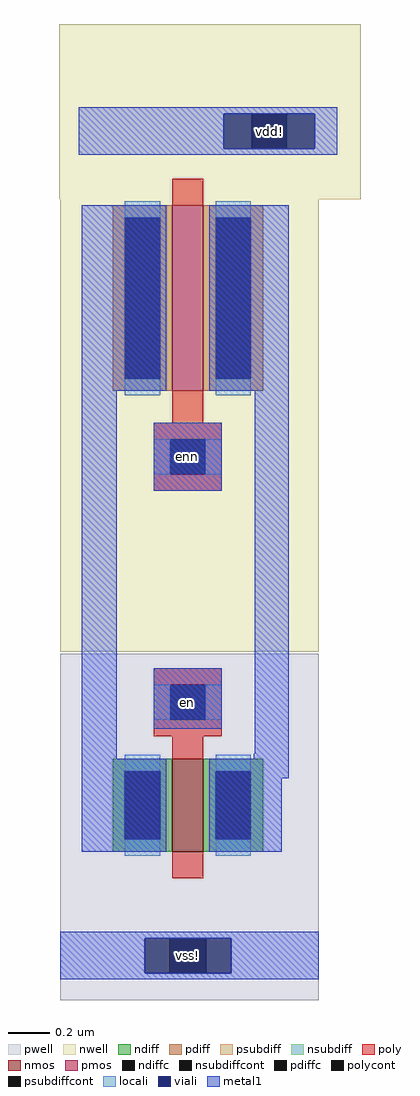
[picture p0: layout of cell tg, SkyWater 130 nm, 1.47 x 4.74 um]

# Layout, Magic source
magic
tech sky130A
magscale 1 2
<< nwell >>
rect -35 451 258 621
rect -34 12 217 451
<< pwell >>
rect -34 -326 217 10
<< psubdiff >>
rect 48 -300 72 -266
rect 108 -300 132 -266
<< nsubdiff >>
rect 125 500 152 534
rect 186 500 213 534
<< psubdiffcont >>
rect 72 -300 108 -266
<< nsubdiffcont >>
rect 152 500 186 534
<< viali >>
rect 125 500 152 534
rect 152 500 186 534
rect 186 500 213 534
rect 48 -300 72 -266
rect 72 -300 108 -266
rect 108 -300 132 -266
<< metal1 >>
rect -16 534 235 540
rect -16 500 125 534
rect 213 500 235 534
rect -16 494 235 500
rect -13 265 63 445
rect 117 265 188 445
rect -13 -92 21 265
rect 57 168 123 234
rect 57 -63 123 -4
rect 155 -87 188 265
rect 154 -92 188 -87
rect -13 -93 29 -92
rect 63 -93 69 -92
rect -13 -182 69 -93
rect 117 -111 188 -92
rect 117 -182 181 -111
rect -34 -266 217 -260
rect -34 -300 48 -266
rect 132 -300 217 -266
rect -34 -306 217 -300
use sky130_fd_pr__pfet_01v8_BHXHFC  sky130_fd_pr__pfet_01v8_BHXHFC_0
transform 1 0 90 0 1 319
box -109 -154 109 188
use sky130_fd_pr__nfet_01v8_NNQAGW  sky130_fd_pr__nfet_01v8_NNQAGW_0
transform 1 0 90 0 1 -106
box -73 -102 73 102
<< labels >>
rlabel metal1 73 184 107 218 1 enn
rlabel metal1 73 -54 107 -20 1 en
rlabel nwell 152 500 186 534 1 vdd!
rlabel pwell 48 -300 132 -266 1 vss!
<< end >>

# cell sky130_fd_pr__pfet_01v8_BHXHFC: kit device sky130_fd_pr__pfet_01v8, w 0.9 l 0.15 m 1 nf 1 diffcov 100 polycov 100 guard 0 glc 0 grc 0 gtc 0 gbc 0 tbcov 100 rlcov 100 topc 0 botc 1 poverlap 0 doverlap 1 lmin 0.15 wmin 0.42 compatible {sky130_fd_pr__pfet_01v8 sky130_fd_pr__pfet_01v8_lvt sky130_fd_pr__pfet_01v8_hvt sky130_fd_pr__pfet_g5v0d10v5} full_metal 0 viasrc 100 viadrn 100 viagate 100 viagb 0 viagr 0 viagl 0 viagt 0

# cell sky130_fd_pr__nfet_01v8_NNQAGW: kit device sky130_fd_pr__nfet_01v8, w 0.450 l 0.150 m 1 nf 1 diffcov 100 polycov 100 guard 0 glc 0 grc 0 gtc 0 gbc 0 tbcov 100 rlcov 100 topc 1 botc 0 poverlap 0 doverlap 1 lmin 0.15 wmin 0.42 compatible {sky130_fd_pr__nfet_01v8 sky130_fd_pr__nfet_01v8_lvt sky130_fd_bs_flash__special_sonosfet_star sky130_fd_pr__nfet_g5v0d10v5 sky130_fd_pr__nfet_05v0_nvt} full_metal 0 viasrc 100 viadrn 100 viagate 100 viagb 0 viagr 0 viagl 0 viagt 0
